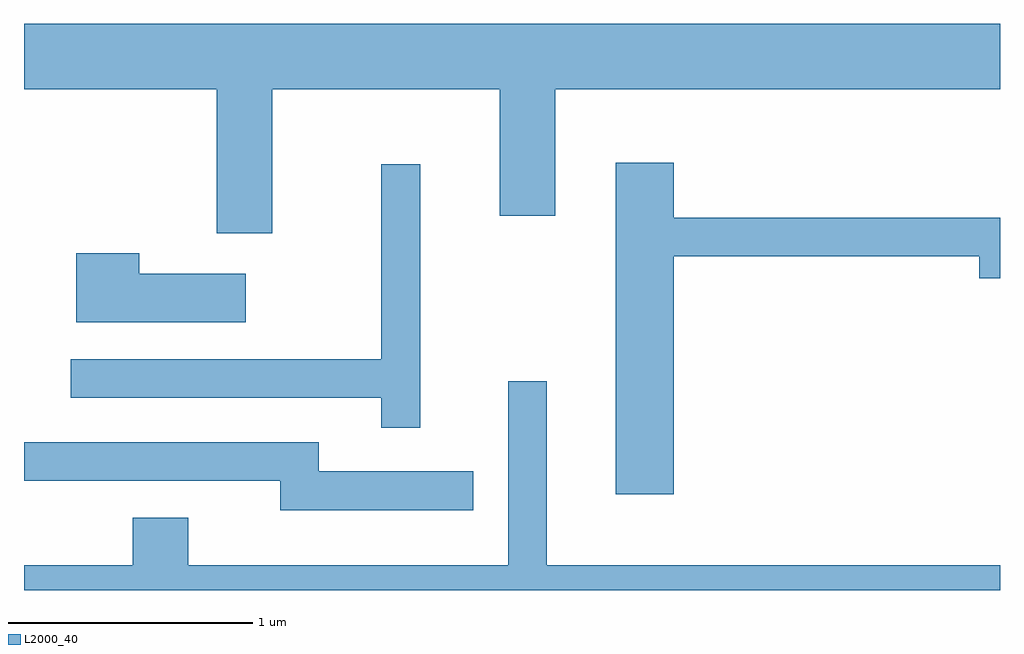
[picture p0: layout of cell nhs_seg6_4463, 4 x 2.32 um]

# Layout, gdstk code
import gdstk
lib = gdstk.Library(unit=1e-6, precision=1e-09)
def P(c, l, *ps):  # polygons
    for p in ps: c.add(gdstk.Polygon(p, *l))
L2000_40 = (2000, 40)

nhs_seg6_4463 = lib.new_cell('nhs_seg6_4463')
P(nhs_seg6_4463, L2000_40, [(322.629,1592.216),(323.561,1592.216),(323.561,1591.696),(323.789,1591.696),(323.789,1592.216),(325.611,1592.216),(325.611,1592.484),(321.611,1592.484),(321.611,1592.216),(322.401,1592.216),(322.401,1591.626),(322.629,1591.626)],
  [(324.274,1591.531),(325.526,1591.531),(325.526,1591.441),(325.611,1591.441),(325.611,1591.689),(324.274,1591.689),(324.274,1591.914),(324.036,1591.914),(324.036,1590.556),(324.274,1590.556)],
  [(323.234,1591.908),(323.076,1591.908),(323.076,1591.109),(321.803,1591.109),(321.803,1590.951),(323.076,1590.951),(323.076,1590.828),(323.234,1590.828)],
  [(322.519,1591.459),(322.084,1591.459),(322.084,1591.544),(321.826,1591.544),(321.826,1591.261),(322.519,1591.261)],
  [(325.611,1590.264),(323.754,1590.264),(323.754,1591.018),(323.596,1591.018),(323.596,1590.264),(322.284,1590.264),(322.284,1590.459),(322.056,1590.459),(322.056,1590.264),(321.611,1590.264),(321.611,1590.162),(325.611,1590.162)],
  [(323.453,1590.649),(322.819,1590.649),(322.819,1590.769),(321.611,1590.769),(321.611,1590.611),(322.661,1590.611),(322.661,1590.491),(323.453,1590.491)])

lib.write_gds('nhs_seg6_4463.gds')
